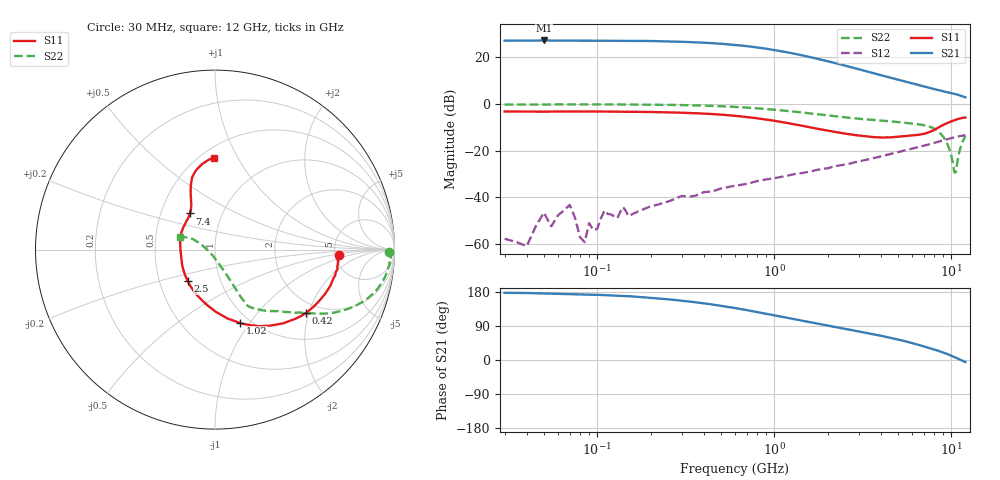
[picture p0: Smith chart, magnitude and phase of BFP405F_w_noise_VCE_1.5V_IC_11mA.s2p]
! Infineon Technologies  Discrete & RF Semiconductors
! BFP405F
! VCE =  1.5 V,  IC =  11 mA
! Common Emitter S-Parameters:  Nov 2015
# GHz  S  MA  R  50
!  f  S11  S21  S12  S22
! GHz  MAG  ANG  MAG  ANG  MAG  ANG  MAG  ANG
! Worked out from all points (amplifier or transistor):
!   239 points, 30 MHz to 12 GHz, reference 50 ohm
!   highest |S21| = 27.2 dB at 50 MHz (marker M1)
!   |S21| within 3 dB of that: start of sweep to 798.9 MHz
!   unconditionally stable (mu >= 1): 2.096 GHz to end of sweep
!   at 300 MHz: K = 0.17, MSG = 33.0 dB, |S12| = -39.4 dB
!   at 1.88 GHz: K = 0.94, MSG = 23.3 dB, |S12| = -27.8 dB
!   at 12 GHz: K = 1.39, MAG = 4.4 dB, |S12| = -13.4 dB
!   lowest NFmin = 1.74 dB at 450 MHz
!   S11 on the Smith chart (normalised r, x): 30 MHz: 5.39, -0.60; 420 MHz: 1.68, -1.91; 1.02 GHz: 0.90, -0.90; 2.5 GHz: 0.70, -0.26; 7.4 GHz: 0.70, +0.30; 12 GHz: 0.58, +0.81
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0.03  0.6903 -2.4  22.69 177.3  0.0013 147.2  0.9717 -0.7
0.04  0.69 -3.5  22.76 176.8  0.0009 129.5  0.9765 -1.1
0.05  0.6837 -4.3  22.94 175.6  0.0047 -141.4  0.9709 -1.5
0.055  0.6874 -4.9  22.84 175.3  0.0024 167.4  0.9762 -1.7
0.07  0.6884 -6.1  22.74 173.8  0.0069 73.9  0.9783 -2.5
0.085  0.6885 -7.1  22.67 172.9  0.0011 59.1  0.9786 -2.8
0.09  0.6872 -7.6  22.71 172.8  0.0028 29.4  0.9774 -3.0
0.14  0.6844 -12.3  22.56 169.2  0.0062 81.9  0.9767 -5.1
0.24  0.6644 -20.7  21.95 161.0  0.0077 79.4  0.96 -9.0
0.3  0.6494 -25.5  21.52 156.5  0.0107 83.4  0.9471 -11.3
0.42  0.6166 -34.9  20.35 148.2  0.0131 75.5  0.9187 -15.2
0.6  0.5585 -47.4  18.39 136.9  0.0178 73.7  0.8664 -20.0
0.8  0.4943 -59.7  16.23 126.6  0.0223 70.0  0.807 -24.3
1.02  0.4319 -71.2  14.13 117.3  0.0261 67.3  0.7485 -28.0
1.3  0.3652 -84.6  11.92 107.5  0.0314 65.8  0.6844 -31.4
1.64  0.3099 -98.7  9.861 98.7  0.0366 65.0  0.6224 -34.6
2.5  0.2328 -130.5  6.654 82.3  0.0506 63.4  0.518 -42.0
4.5  0.1932 177.5  3.676 59.0  0.0844 58.5  0.4262 -52.4
7.4  0.2451 124.8  2.244 32.6  0.1349 46.2  0.3337 -60.6
9.2  0.3707 111.4  1.839 18.0  0.1705 37.1  0.1737 -64.3
10.4  0.448 104.3  1.652 7.8  0.1941 29.7  0.0341 -115.1
12  0.5116 90.4  1.388 -5.3  0.2149 20.6  0.2075 159.6
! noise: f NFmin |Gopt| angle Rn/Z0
0.45  1.74  0.18  5  0.33
0.9  1.75  0.17  8  0.34
1.5  1.81  0.15  13  0.24
1.9  1.84  0.13  20  0.28
2.4  1.98  0.12  27  0.33
3  2.05  0.1  39  0.35
3.5  2.11  0.07  44  0.43
4.5  2.28  0.06  40  0.2
5.5  2.5  0.03  17  0.06
